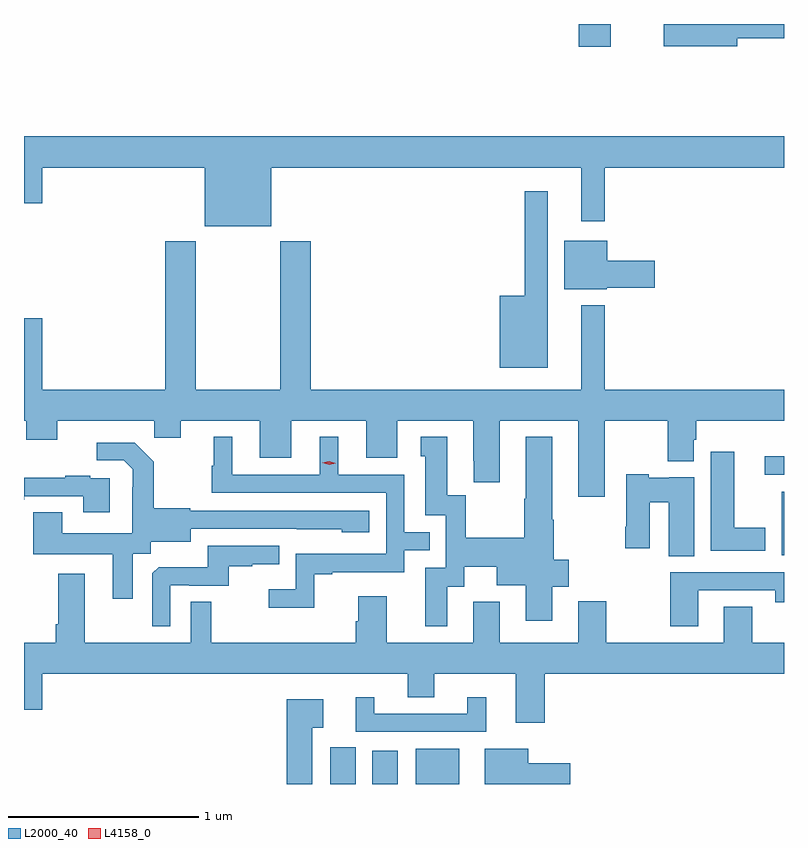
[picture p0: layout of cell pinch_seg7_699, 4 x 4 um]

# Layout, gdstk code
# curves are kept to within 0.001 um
import gdstk
lib = gdstk.Library(unit=1e-6, precision=1e-09)
def R(c, l, rs):  # rectangles x0, y0, x1, y1
    for r in rs: c.add(gdstk.rectangle(r[:2], r[2:], *l))
def P(c, l, *ps):  # polygons
    for p in ps: c.add(gdstk.Polygon(p, *l))
L2000_40 = (2000, 40)
L4158_0 = (4158, 0)

pinch_seg7_699 = lib.new_cell('pinch_seg7_699')
R(pinch_seg7_699, L2000_40, [(334.52,1021.348,334.654,1021.542), (334.742,1021.348,334.876,1021.522), (334.97,1021.348,335.2,1021.534), (336.896,1022.552,336.909,1022.887), (336.807,1022.976,336.909,1023.074), (335.828,1025.228,335.998,1025.348)])
P(pinch_seg7_699, L2000_40, [(336.664,1025.272),(336.909,1025.272),(336.909,1025.348),(336.276,1025.348),(336.276,1025.23),(336.664,1025.23)],
  [(334.21,1024.592),(335.843,1024.592),(335.843,1024.311),(335.965,1024.311),(335.965,1024.592),(336.909,1024.592),(336.909,1024.756),(332.909,1024.756),(332.909,1024.404),(333.004,1024.404),(333.004,1024.592),(333.86,1024.592),(333.86,1024.283),(334.21,1024.283)],
  [(335.665,1024.468),(335.544,1024.468),(335.544,1023.919),(335.414,1023.919),(335.414,1023.539),(335.665,1023.539)],
  [(335.976,1023.959),(336.229,1023.959),(336.229,1024.101),(335.98,1024.101),(335.98,1024.207),(335.753,1024.207),(335.753,1023.953),(335.976,1023.953)],
  [(334.315,1023.26),(334.709,1023.26),(334.709,1023.066),(334.873,1023.066),(334.873,1023.26),(335.273,1023.26),(335.273,1023.049),(335.276,1023.049),(335.276,1022.937),(335.413,1022.937),(335.413,1023.26),(335.825,1023.26),(335.825,1022.859),(335.965,1022.859),(335.965,1023.26),(336.298,1023.26),(336.298,1023.047),(336.433,1023.047),(336.433,1023.159),(336.446,1023.159),(336.446,1023.26),(336.909,1023.26),(336.909,1023.424),(335.965,1023.424),(335.965,1023.868),(335.843,1023.868),(335.843,1023.424),(334.418,1023.424),(334.418,1024.204),(334.258,1024.204),(334.258,1023.424),(333.813,1023.424),(333.813,1024.204),(333.653,1024.204),(333.653,1023.424),(333.004,1023.424),(333.004,1023.799),(332.909,1023.799),(332.909,1023.26),(332.921,1023.26),(332.921,1023.161),(333.085,1023.161),(333.085,1023.26),(333.595,1023.26),(333.595,1023.17),(333.733,1023.17),(333.733,1023.26),(334.151,1023.26),(334.151,1023.066),(334.315,1023.066)],
  [(334.437,1022.451),(334.531,1022.451),(334.531,1022.463),(334.911,1022.463),(334.911,1022.577),(335.045,1022.577),(335.045,1022.673),(334.911,1022.673),(334.911,1022.976),(334.564,1022.976),(334.564,1023.175),(334.466,1023.175),(334.466,1022.976),(334.006,1022.976),(334.006,1023.175),(333.908,1023.175),(333.908,1023.024),(333.897,1023.024),(333.897,1022.88),(334.815,1022.88),(334.815,1022.559),(334.338,1022.559),(334.338,1022.374),(334.197,1022.374),(334.197,1022.276),(334.437,1022.276)],
  [(335.137,1022.386),(335.227,1022.386),(335.227,1022.492),(335.396,1022.492),(335.396,1022.393),(335.549,1022.393),(335.549,1022.208),(335.689,1022.208),(335.689,1022.386),(335.776,1022.386),(335.776,1022.528),(335.697,1022.528),(335.697,1022.74),(335.689,1022.74),(335.689,1023.175),(335.549,1023.175),(335.549,1022.849),(335.542,1022.849),(335.542,1022.644),(335.235,1022.644),(335.235,1022.867),(335.137,1022.867),(335.137,1023.175),(334.997,1023.175),(334.997,1023.072),(335.021,1023.072),(335.021,1022.763),(335.13,1022.763),(335.13,1022.487),(335.021,1022.487),(335.021,1022.178),(335.137,1022.178)],
  [(333.481,1022.56),(333.576,1022.56),(333.576,1022.624),(333.787,1022.624),(333.787,1022.691),(334.581,1022.69),(334.581,1022.672),(334.726,1022.672),(334.726,1022.787),(333.783,1022.787),(333.783,1022.8),(333.591,1022.8),(333.591,1023.045),(333.491,1023.145),(333.291,1023.145),(333.291,1023.051),(333.435,1023.051),(333.482,1023.004),(333.482,1022.909),(333.48,1022.909),(333.48,1022.668),(333.109,1022.668),(333.109,1022.777),(332.957,1022.777),(332.957,1022.558),(333.377,1022.558),(333.377,1022.322),(333.481,1022.322)],
  [(336.811,1022.698),(336.646,1022.698),(336.646,1023.097),(336.524,1023.097),(336.524,1022.576),(336.811,1022.576)],
  [(336.436,1022.962),(336.306,1022.962),(336.306,1022.959),(336.198,1022.959),(336.198,1022.977),(336.08,1022.977),(336.08,1022.701),(336.073,1022.701),(336.073,1022.589),(336.202,1022.589),(336.202,1022.83),(336.302,1022.83),(336.302,1022.548),(336.436,1022.548)],
  [(333.361,1022.958),(333.257,1022.958),(333.257,1022.971),(333.125,1022.971),(333.125,1022.96),(332.909,1022.96),(332.909,1022.844),(332.911,1022.844),(332.911,1022.862),(333.221,1022.862),(333.221,1022.778),(333.361,1022.778)],
  [(333.678,1022.394),(333.778,1022.394),(333.778,1022.391),(333.986,1022.391),(333.986,1022.493),(334.109,1022.493),(334.109,1022.504),(334.253,1022.504),(334.253,1022.601),(333.876,1022.601),(333.876,1022.489),(333.617,1022.489),(333.585,1022.457),(333.585,1022.177),(333.678,1022.177)],
  [(336.457,1022.367),(336.862,1022.367),(336.862,1022.304),(336.909,1022.304),(336.909,1022.463),(336.31,1022.463),(336.31,1022.178),(336.457,1022.178)],
  [(335.651,1021.928),(336.909,1021.928),(336.909,1022.092),(336.741,1022.092),(336.741,1022.282),(336.593,1022.282),(336.593,1022.092),(335.973,1022.092),(335.973,1022.311),(335.825,1022.311),(335.825,1022.092),(335.413,1022.092),(335.413,1022.308),(335.273,1022.308),(335.273,1022.092),(334.819,1022.092),(334.819,1022.335),(334.667,1022.335),(334.667,1022.205),(334.655,1022.205),(334.655,1022.092),(333.895,1022.092),(333.895,1022.306),(333.786,1022.306),(333.786,1022.092),(333.229,1022.092),(333.229,1022.455),(333.089,1022.455),(333.089,1022.188),(333.077,1022.188),(333.077,1022.092),(332.909,1022.092),(332.909,1021.74),(333.004,1021.74),(333.004,1021.928),(334.928,1021.928),(334.928,1021.804),(335.068,1021.804),(335.068,1021.928),(335.498,1021.928),(335.498,1021.671),(335.651,1021.671)],
  [(335.341,1021.804),(335.243,1021.804),(335.243,1021.719),(334.753,1021.719),(334.753,1021.804),(334.655,1021.804),(334.655,1021.623),(335.341,1021.623)],
  [(334.426,1021.643),(334.483,1021.643),(334.483,1021.795),(334.292,1021.795),(334.292,1021.348),(334.426,1021.348)],
  [(335.785,1021.458),(335.563,1021.458),(335.563,1021.534),(335.333,1021.534),(335.333,1021.348),(335.785,1021.348)])
P(pinch_seg7_699, L4158_0, [(334.515,1023.028),(334.479,1023.039),(334.479,1023.04),(334.479,1023.04),(334.515,1023.048),(334.551,1023.037),(334.551,1023.037),(334.551,1023.037)])

lib.write_gds('pinch_seg7_699.gds')
